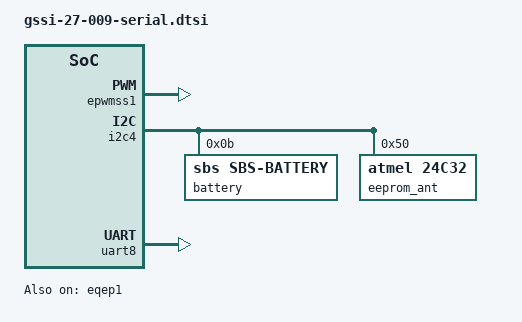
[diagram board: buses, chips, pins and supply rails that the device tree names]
&dra7_pmx_core {
	battery_pins: pinmux_battery_pins {
		pinctrl-single,pins = <
			DRA7XX_CORE_IOPAD(0x36b0, PIN_INPUT_PULLUP    | MUX_MODE10) /* J14 mcasp1_fsr   i2c4_scl */
			DRA7XX_CORE_IOPAD(0x36ac, PIN_INPUT_PULLUP    | MUX_MODE10) /* B14 mcasp1_aclkr i2c4_sda */
		>;
	};

    eqep1_pins: pinmux_eqep1_pins {
        pinctrl-single,pins = <
            DRA7XX_CORE_IOPAD(0x350c, PIN_INPUT           | MUX_MODE10) /* AG6 vin1a_d6 eQEP2A_in */
            DRA7XX_CORE_IOPAD(0x3510, PIN_INPUT           | MUX_MODE10) /* AH4 vin1a_d7 eQEP2B_in */
        >;
    };

    uart8_pins: pinmux_uart8_pins {
        pinctrl-single,pins = <
            DRA7XX_CORE_IOPAD(0x3734, PIN_INPUT_PULLUP    | MUX_MODE3 ) /* C18 mcasp4_aclkx  uart8_rxd  */
            DRA7XX_CORE_IOPAD(0x3738, PIN_OUTPUT_PULLDOWN | MUX_MODE3 ) /* A21 mcasp4_fsx    uart8_txd  */
        >;
    };
};

&epwmss1 {
    status = "okay";
    ranges = <0x48440000 0x48440000 0x1000>;

    module {
        reg = <0x48440000 0x1000>;
        compatible = "uio";
        symlink = "uio/pwmss1/module";
    };
};

&eqep1 {
    compatible = "uio";
    status = "okay";
    pinctrl-names = "default";
    pinctrl-0 = <&eqep1_pins>;
    symlink = "uio/pwmss1/qep";

    count_mode = <0>;
    swap_inputs = <0>;
    invert_qa = <0>;
    invert_qb = <0>;
    invert_qi = <0>;
    invert_qs = <0>;
};

&i2c4 {
    pinctrl-names = "default";
    pinctrl-0 = <&battery_pins>;
    status = "okay";

	battery: sbs-battery@b {
		compatible = "sbs,sbs-battery";
		reg = <0x0b>;
		sbs,poll-retry-count = <100>;
		sbs,i2c-retry-count = <100>;
	};

	eeprom_ant: eeprom-ant@50 {
		compatible = "atmel,24c32";
		reg = <0x50>;
	};
};

&uart8 {
    status = "okay";
    pinctrl-names = "default";
    pinctrl-0 = <&uart8_pins>;
};
